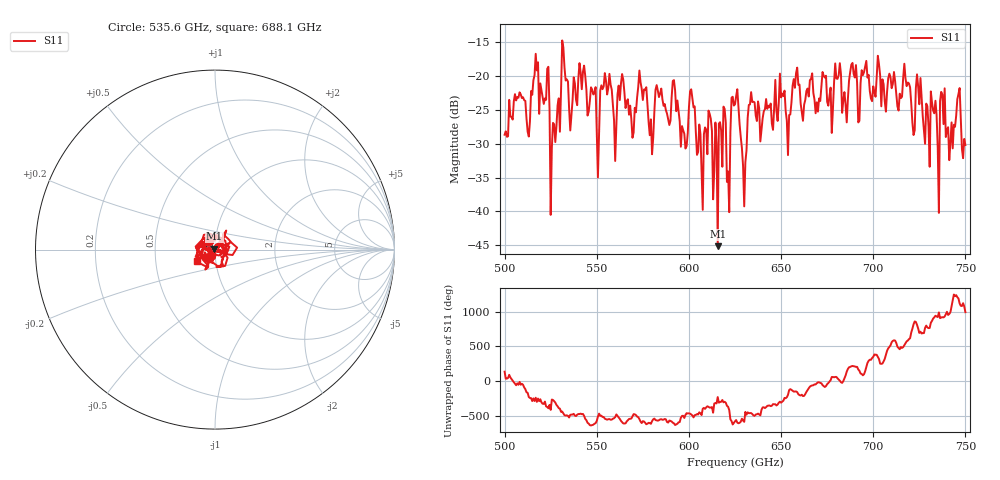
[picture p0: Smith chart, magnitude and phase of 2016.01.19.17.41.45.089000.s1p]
!Created with skrf (http://scikit-rf.org).
# GHz S RI R 50.0
!freq ReS11 ImS11
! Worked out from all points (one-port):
!   401 points, 500 GHz to 750 GHz, reference 50 ohm
!   lowest |S11| = -45.1 dB at 615.6 GHz (marker M1), VSWR 1.01, Z = 49.7 + j0.429 ohm
!   |S11| at or under -10 dB: start of sweep to end of sweep
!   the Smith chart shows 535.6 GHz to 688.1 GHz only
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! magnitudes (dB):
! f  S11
! 500 GHz  -28.7
! 513.1 GHz  -29.0
! 516.9 GHz  -16.8
! 523.1 GHz  -19.0
! 526.2 GHz  -27.0
! 531.2 GHz  -14.8
! 535.6 GHz  -28.1
! 541.9 GHz  -22.0
! 550 GHz  -28.7
! 553.8 GHz  -21.6
! 562.5 GHz  -23.6
! 570 GHz  -28.4
! 574.4 GHz  -21.9
! 579.4 GHz  -26.4
! 583.1 GHz  -22.2
! 593.8 GHz  -23.7
! 615.6 GHz  -45.1
! 618.8 GHz  -24.6
! 621.2 GHz  -34.1
! 625 GHz  -24.2
! 630 GHz  -39.3
! 633.8 GHz  -22.4
! 656.2 GHz  -21.5
! 687.5 GHz  -19.5
! 718.8 GHz  -21.0
! 734.4 GHz  -25.8
! 746.2 GHz  -22.7
! 750 GHz  -30.2
